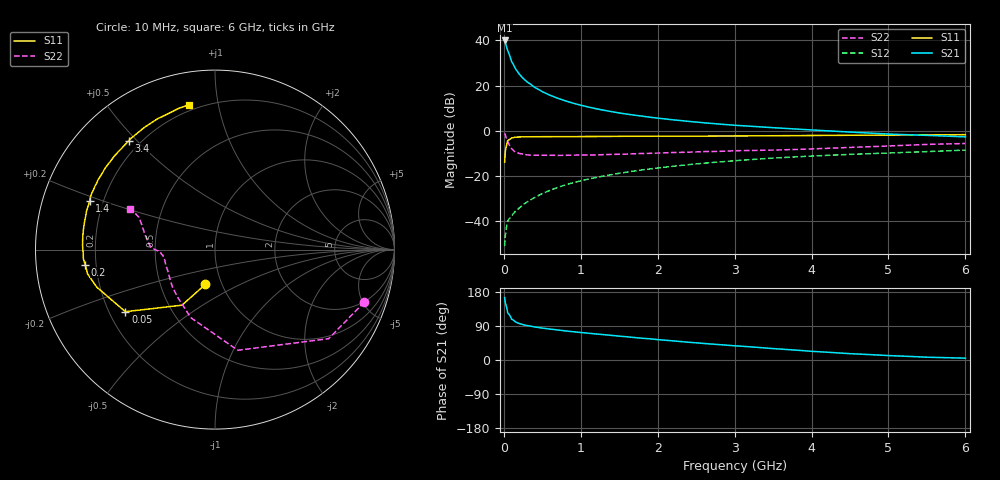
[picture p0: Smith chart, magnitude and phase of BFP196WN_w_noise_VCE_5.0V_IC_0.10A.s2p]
! (c) 2017  Infineon Technologies AG, Munich
! Infineon Technologies  Discrete & RF Semiconductors
! BFP196WN
! VCE =  5.0 V,  IC = 0.10 A
! Common Emitter S-Parameters:  Jan 2017
# GHz  S  MA  R  50
!  f  S11  S21  S12  S22
! GHz  MAG  ANG  MAG  ANG  MAG  ANG  MAG  ANG
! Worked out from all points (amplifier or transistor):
!   77 points, 10 MHz to 6 GHz, reference 50 ohm
!   highest |S21| = 40.0 dB at 10 MHz (marker M1)
!   |S21| within 3 dB of that: start of sweep to 36.82 MHz
!   unconditionally stable (mu >= 1): 458.3 MHz to 2.589 GHz
!   at 130 MHz: K = 0.71, MSG = 32.7 dB, |S12| = -36.4 dB
!   at 2.2 GHz: K = 1.02, MAG = 9.5 dB, |S12| = -15.7 dB
!   at 6 GHz: K = 0.92, MSG = 2.9 dB, |S12| = -8.6 dB
!   lowest NFmin = 1.80 dB at 450 MHz
!   S11 on the Smith chart (normalised r, x): 10 MHz: 0.83, -0.34; 50 MHz: 0.27, -0.29; 200 MHz: 0.16, -0.06; 1.4 GHz: 0.15, +0.18; 3.4 GHz: 0.16, +0.47; 6 GHz: 0.17, +0.82
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0.01  0.2017 -105.6  99.45 164.8  0.0028 80.7  0.8819 -19.4
0.02  0.3601 -120.7  88.2 150.3  0.0049 67.7  0.8045 -38.1
0.05  0.6073 -145.3  59.64 124.5  0.0101 53.8  0.5752 -77.2
0.1  0.6908 -162.3  34.2 107.9  0.013 55.4  0.4025 -109.6
0.15  0.7225 -169.2  23.73 100.7  0.0165 56.8  0.3386 -127.5
0.2  0.728 -173.4  17.98 96.3  0.0195 62.1  0.3159 -138.5
0.25  0.7351 -176.0  14.48 93.2  0.0232 63.6  0.3028 -145.2
0.3  0.7347 -178.4  12.12 90.9  0.0264 67.3  0.2932 -150.9
0.4  0.7384 178.1  9.146 87.1  0.0333 70.0  0.2875 -157.4
0.5  0.7394 175.5  7.322 84.2  0.0408 71.1  0.2871 -162.0
0.6  0.7405 173.2  6.116 81.6  0.0482 71.5  0.2871 -165.4
0.7  0.7416 171.2  5.236 79.3  0.0557 72.9  0.2853 -167.7
0.9  0.7437 167.0  4.072 74.6  0.0708 71.9  0.2887 -170.7
1.1  0.7471 163.6  3.346 70.7  0.0856 71.4  0.2916 -173.3
1.4  0.7487 158.6  2.653 64.9  0.107 69.7  0.3009 -175.8
1.7  0.7545 153.7  2.212 59.3  0.129 67.7  0.31 -177.3
2.1  0.7584 147.7  1.824 52.2  0.157 64.5  0.3255 -179.3
3.1  0.7675 132.8  1.292 36.2  0.2232 55.6  0.3637 176.4
3.4  0.7736 128.5  1.199 31.7  0.242 53.1  0.3711 174.3
4.1  0.7876 118.7  1.021 21.8  0.2805 46.8  0.4024 167.0
5.1  0.8032 108.0  0.834 10.9  0.3266 38.9  0.468 156.6
6  0.8194 100.2  0.733 4.8  0.3732 32.8  0.523 154.3
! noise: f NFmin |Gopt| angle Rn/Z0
0.45  1.8  0.6  -174  0.06
0.9  1.96  0.61  -167  0.08
1.9  2.98  0.71  -146  0.26
2.4  3.72  0.72  -137  0.44
